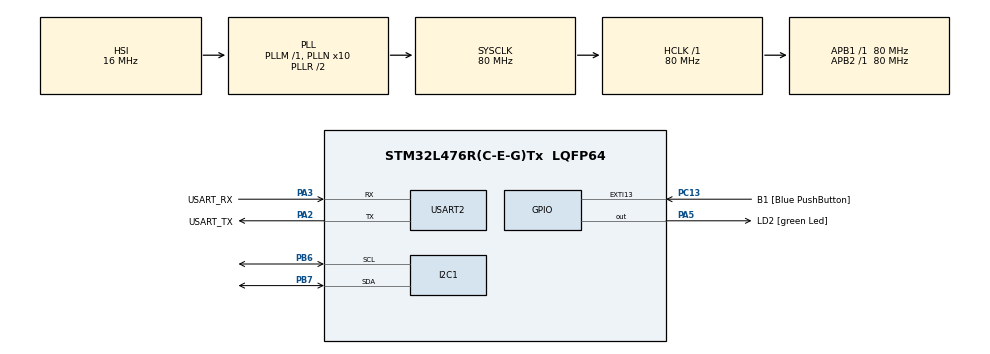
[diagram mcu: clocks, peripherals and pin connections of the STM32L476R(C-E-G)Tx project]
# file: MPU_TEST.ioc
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I2C1.Timing=0x10909CEC
Mcu.Family=STM32L4
Mcu.Name=STM32L476R(C-E-G)Tx
Mcu.Package=LQFP64
NVIC.PriorityGroup=NVIC_PRIORITYGROUP_4
PA13\ (JTMS-SWDIO).GPIO_Label=TMS
PA13\ (JTMS-SWDIO).Mode=Serial_Wire
PA13\ (JTMS-SWDIO).Signal=SYS_JTMS-SWDIO
PA14\ (JTCK-SWCLK).GPIO_Label=TCK
PA14\ (JTCK-SWCLK).Mode=Serial_Wire
PA14\ (JTCK-SWCLK).Signal=SYS_JTCK-SWCLK
PA2.GPIO_Label=USART_TX
PA2.GPIO_Mode=GPIO_MODE_AF_PP
PA2.GPIO_PuPd=GPIO_NOPULL
PA2.GPIO_Speed=GPIO_SPEED_FREQ_VERY_HIGH
PA2.Mode=Asynchronous
PA2.Signal=USART2_TX
PA3.GPIO_Label=USART_RX
PA3.GPIO_Mode=GPIO_MODE_AF_PP
PA3.GPIO_PuPd=GPIO_NOPULL
PA3.GPIO_Speed=GPIO_SPEED_FREQ_VERY_HIGH
PA3.Mode=Asynchronous
PA3.Signal=USART2_RX
PA5.GPIO_Label=LD2 [green Led]
PA5.GPIO_ModeDefaultOutputPP=GPIO_MODE_OUTPUT_PP
PA5.GPIO_PuPd=GPIO_NOPULL
PA5.GPIO_Speed=GPIO_SPEED_FREQ_LOW
PA5.Signal=GPIO_Output
PB3\ (JTDO-TRACESWO).GPIO_Label=SWO
PB3\ (JTDO-TRACESWO).Signal=SYS_JTDO-SWO
PB6.Mode=I2C
PB6.Signal=I2C1_SCL
PB7.Mode=I2C
PB7.Signal=I2C1_SDA
PC13.GPIO_Label=B1 [Blue PushButton]
PC13.GPIO_ModeDefaultEXTI=GPIO_MODE_IT_FALLING
PC13.GPIO_PuPd=GPIO_NOPULL
PC13.Signal=GPXTI13
PC14-OSC32_IN\ (PC14).Mode=LSE-External-Oscillator
PC14-OSC32_IN\ (PC14).Signal=RCC_OSC32_IN
PC15-OSC32_OUT\ (PC15).Mode=LSE-External-Oscillator
PC15-OSC32_OUT\ (PC15).Signal=RCC_OSC32_OUT
PH0-OSC_IN\ (PH0).Signal=RCC_OSC_IN
PH1-OSC_OUT\ (PH1).Signal=RCC_OSC_OUT
ProjectManager.HeapSize=0x200
ProjectManager.StackSize=0x400
ProjectManager.TargetToolchain=STM32CubeIDE
RCC.ADCFreq_Value=64000000
RCC.AHBFreq_Value=80000000
RCC.APB1Freq_Value=80000000
RCC.APB1TimFreq_Value=80000000
RCC.APB2Freq_Value=80000000
RCC.APB2TimFreq_Value=80000000
RCC.CortexFreq_Value=80000000
RCC.HCLKFreq_Value=80000000
RCC.HSE_VALUE=8000000
RCC.HSI_VALUE=16000000
RCC.MSI_VALUE=4000000
RCC.PLLN=10
RCC.PLLSourceVirtual=RCC_PLLSOURCE_HSI
RCC.PREFETCH_ENABLE=1
RCC.SYSCLKFreq_VALUE=80000000
RCC.SYSCLKSource=RCC_SYSCLKSOURCE_PLLCLK
RCC.USBFreq_Value=64000000
RCC.VCOOutputFreq_Value=160000000
USART2.VirtualMode-Asynchronous=VM_ASYNC
board=NUCLEO-L476RG

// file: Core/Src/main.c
/* USER CODE BEGIN Header */
/**
  ******************************************************************************
  * @file           : main.c
  * @brief          : Main program body
  ******************************************************************************
  * @attention
  *
  * Copyright (c) 2022 STMicroelectronics.
  * All rights reserved.
  *
  * This software is licensed under terms that can be found in the LICENSE file
  * in the root directory of this software component.
  * If no LICENSE file comes with this software, it is provided AS-IS.
  *
  ******************************************************************************
  */
/* USER CODE END Header */
#include "main.h"

/* USER CODE BEGIN Includes */
#include <math.h>
#include <stdint.h>
/* USER CODE END Includes */

/* USER CODE BEGIN PD */

// Constants
#define RAD2DEG 57.2957795131

// Defines
#define WHO_AM_I_6050_ANS 0x68
#define WHO_AM_I_9250_ANS 0x71
#define WHO_AM_I          0x75
#define AD0_LOW           0x68
#define AD0_HIGH          0x69
#define GYRO_CONFIG       0x1B
#define ACCEL_CONFIG      0x1C
#define PWR_MGMT_1        0x6B
#define ACCEL_XOUT_H      0x3B
#define I2C_TIMOUT_MS     1000

/* USER CODE END PD */

 I2C_HandleTypeDef hi2c1;

UART_HandleTypeDef huart2;

/* USER CODE BEGIN PV */

// Full scale ranges
enum gyroscopeFullScaleRange
{
    GFSR_250DPS,
    GFSR_500DPS,
    GFSR_1000DPS,
    GFSR_2000DPS
};

enum accelerometerFullScaleRange
{
    AFSR_2G,
    AFSR_4G,
    AFSR_8G,
    AFSR_16G
};

// Structures
struct RawData
{
    int16_t ax, ay, az, gx, gy, gz;
} rawData;

struct SensorData
{
    float ax, ay, az, gx, gy, gz;
} sensorData;

struct GyroCal
{
    float x, y, z;
} gyroCal;

struct Attitude
{
    float r, p, y;
} attitude;

// Variables
uint8_t _addr;
float _dt, _tau;
float aScaleFactor, gScaleFactor;

uint8_t TX_BUFF[100], len;

/* USER CODE END PV */

void SystemClock_Config(void);
static void MX_GPIO_Init(void);
static void MX_USART2_UART_Init(void);
static void MX_I2C1_Init(void);
/* USER CODE BEGIN PFP */

uint8_t MPU_begin(I2C_HandleTypeDef *I2Cx, uint8_t addr, uint8_t aScale, uint8_t gScale, float tau, float dt);
void MPU_calibrateGyro(I2C_HandleTypeDef *I2Cx, uint16_t numCalPoints);
void MPU_calcAttitude(I2C_HandleTypeDef *I2Cx);
void MPU_readRawData(I2C_HandleTypeDef *I2Cx);
void MPU_readProcessedData(I2C_HandleTypeDef *I2Cx);
void MPU_writeGyroFullScaleRange(I2C_HandleTypeDef *I2Cx, uint8_t gScale);
void MPU_writeAccFullScaleRange(I2C_HandleTypeDef *I2Cx, uint8_t aScale);

/* USER CODE END PFP */

int main(void)
{

  /* MCU Configuration--------------------------------------------------------*/

  /* Reset of all peripherals, Initializes the Flash interface and the Systick. */
  HAL_Init();

  /* Configure the system clock */
  SystemClock_Config();

  /* Initialize all configured peripherals */
  MX_GPIO_Init();
  MX_USART2_UART_Init();
  MX_I2C1_Init();
  /* USER CODE BEGIN 2 */

  MPU_begin(&hi2c1, AD0_LOW, AFSR_4G, GFSR_500DPS, 0.98, 0.004);
  MPU_calibrateGyro(&hi2c1, 1500);

  /* USER CODE END 2 */

  /* Infinite loop */
  while (1)
  {

	  //len = sprintf(TX_BUFF, "gx:%f,gy:%f,gz:%f\r\n",sensorData.gx,sensorData.gy,sensorData.gz);
	  len = sprintf(TX_BUFF, "gx:%d,gy:%d,gz:%d\r\n",rawData.gx,rawData.gy,rawData.gz);
	  HAL_UART_Transmit(&huart2, TX_BUFF, len, HAL_MAX_DELAY);

	  HAL_Delay(100);

  }
}

void SystemClock_Config(void)
{
  RCC_OscInitTypeDef RCC_OscInitStruct = {0};
  RCC_ClkInitTypeDef RCC_ClkInitStruct = {0};

  /** Configure the main internal regulator output voltage
  */
  if (HAL_PWREx_ControlVoltageScaling(PWR_REGULATOR_VOLTAGE_SCALE1) != HAL_OK)
  {
    Error_Handler();
  }

  /** Initializes the RCC Oscillators according to the specified parameters
  * in the RCC_OscInitTypeDef structure.
  */
  RCC_OscInitStruct.OscillatorType = RCC_OSCILLATORTYPE_HSI;
  RCC_OscInitStruct.HSIState = RCC_HSI_ON;
  RCC_OscInitStruct.HSICalibrationValue = RCC_HSICALIBRATION_DEFAULT;
  RCC_OscInitStruct.PLL.PLLState = RCC_PLL_ON;
  RCC_OscInitStruct.PLL.PLLSource = RCC_PLLSOURCE_HSI;
  RCC_OscInitStruct.PLL.PLLM = 1;
  RCC_OscInitStruct.PLL.PLLN = 10;
  RCC_OscInitStruct.PLL.PLLP = RCC_PLLP_DIV7;
  RCC_OscInitStruct.PLL.PLLQ = RCC_PLLQ_DIV2;
  RCC_OscInitStruct.PLL.PLLR = RCC_PLLR_DIV2;
  if (HAL_RCC_OscConfig(&RCC_OscInitStruct) != HAL_OK)
  {
    Error_Handler();
  }

  /** Initializes the CPU, AHB and APB buses clocks
  */
  RCC_ClkInitStruct.ClockType = RCC_CLOCKTYPE_HCLK|RCC_CLOCKTYPE_SYSCLK
                              |RCC_CLOCKTYPE_PCLK1|RCC_CLOCKTYPE_PCLK2;
  RCC_ClkInitStruct.SYSCLKSource = RCC_SYSCLKSOURCE_PLLCLK;
  RCC_ClkInitStruct.AHBCLKDivider = RCC_SYSCLK_DIV1;
  RCC_ClkInitStruct.APB1CLKDivider = RCC_HCLK_DIV1;
  RCC_ClkInitStruct.APB2CLKDivider = RCC_HCLK_DIV1;

  if (HAL_RCC_ClockConfig(&RCC_ClkInitStruct, FLASH_LATENCY_4) != HAL_OK)
  {
    Error_Handler();
  }
}

static void MX_I2C1_Init(void)
{

  hi2c1.Instance = I2C1;
  hi2c1.Init.Timing = 0x10909CEC;
  hi2c1.Init.OwnAddress1 = 0;
  hi2c1.Init.AddressingMode = I2C_ADDRESSINGMODE_7BIT;
  hi2c1.Init.DualAddressMode = I2C_DUALADDRESS_DISABLE;
  hi2c1.Init.OwnAddress2 = 0;
  hi2c1.Init.OwnAddress2Masks = I2C_OA2_NOMASK;
  hi2c1.Init.GeneralCallMode = I2C_GENERALCALL_DISABLE;
  hi2c1.Init.NoStretchMode = I2C_NOSTRETCH_DISABLE;
  if (HAL_I2C_Init(&hi2c1) != HAL_OK)
  {
    Error_Handler();
  }

  /** Configure Analogue filter
  */
  if (HAL_I2CEx_ConfigAnalogFilter(&hi2c1, I2C_ANALOGFILTER_ENABLE) != HAL_OK)
  {
    Error_Handler();
  }

  /** Configure Digital filter
  */
  if (HAL_I2CEx_ConfigDigitalFilter(&hi2c1, 0) != HAL_OK)
  {
    Error_Handler();
  }

}

static void MX_USART2_UART_Init(void)
{

  huart2.Instance = USART2;
  huart2.Init.BaudRate = 115200;
  huart2.Init.WordLength = UART_WORDLENGTH_8B;
  huart2.Init.StopBits = UART_STOPBITS_1;
  huart2.Init.Parity = UART_PARITY_NONE;
  huart2.Init.Mode = UART_MODE_TX_RX;
  huart2.Init.HwFlowCtl = UART_HWCONTROL_NONE;
  huart2.Init.OverSampling = UART_OVERSAMPLING_16;
  huart2.Init.OneBitSampling = UART_ONE_BIT_SAMPLE_DISABLE;
  huart2.AdvancedInit.AdvFeatureInit = UART_ADVFEATURE_NO_INIT;
  if (HAL_UART_Init(&huart2) != HAL_OK)
  {
    Error_Handler();
  }

}

static void MX_GPIO_Init(void)
{
  GPIO_InitTypeDef GPIO_InitStruct = {0};

  /* GPIO Ports Clock Enable */
  __HAL_RCC_GPIOC_CLK_ENABLE();
  __HAL_RCC_GPIOH_CLK_ENABLE();
  __HAL_RCC_GPIOA_CLK_ENABLE();
  __HAL_RCC_GPIOB_CLK_ENABLE();

  /*Configure GPIO pin Output Level */
  HAL_GPIO_WritePin(LD2_GPIO_Port, LD2_Pin, GPIO_PIN_RESET);

  /*Configure GPIO pin : B1_Pin */
  GPIO_InitStruct.Pin = B1_Pin;
  GPIO_InitStruct.Mode = GPIO_MODE_IT_FALLING;
  GPIO_InitStruct.Pull = GPIO_NOPULL;
  HAL_GPIO_Init(B1_GPIO_Port, &GPIO_InitStruct);

  /*Configure GPIO pin : LD2_Pin */
  GPIO_InitStruct.Pin = LD2_Pin;
  GPIO_InitStruct.Mode = GPIO_MODE_OUTPUT_PP;
  GPIO_InitStruct.Pull = GPIO_NOPULL;
  GPIO_InitStruct.Speed = GPIO_SPEED_FREQ_LOW;
  HAL_GPIO_Init(LD2_GPIO_Port, &GPIO_InitStruct);

}

/* USER CODE BEGIN 4 */

/// @brief Set the IMU address, check for connection, reset IMU, and set full range scale.
/// @param I2Cx Pointer to I2C structure config.
/// @param addr Hex address based on AD0 pin - 0x68 low or 0x69 high.
/// @param aScale Set accelerometer full scale range: 0 for ±2g, 1 for ±4g, 2 for ±8g, and 3 for ±16g.
/// @param gScale Set gyroscope full scale range: 0 for ±250°/s, 1 for ±500°/s, 2 for ±1000°/s, and 3 for ±2000°/s.
/// @param tau Set tau value for the complementary filter (typically 0.98).
/// @param dt Set sampling rate in seconds determined by the timer interrupt.
uint8_t MPU_begin(I2C_HandleTypeDef *I2Cx, uint8_t addr, uint8_t aScale, uint8_t gScale, float tau, float dt)
{
    // Save values
    _addr = addr << 1;
    _tau = tau;
    _dt = dt;

    // Initialize variables
    uint8_t check;
    uint8_t select;

    // Confirm device
    HAL_I2C_Mem_Read(I2Cx, _addr, WHO_AM_I, 1, &check, 1, I2C_TIMOUT_MS);

    select = 0x00;
	HAL_I2C_Mem_Write(I2Cx, _addr, PWR_MGMT_1, 1, &select, 1, I2C_TIMOUT_MS);

	// Set the full scale ranges
	MPU_writeAccFullScaleRange(I2Cx, aScale);
	MPU_writeGyroFullScaleRange(I2Cx, gScale);

	return 1;

	/*
    // TODO: If 9250 or 6050 fails could it trigger the opposite check???
    if ((check == WHO_AM_I_9250_ANS) || (check == WHO_AM_I_6050_ANS))
    {
        // Startup / reset the sensor
        select = 0x00;
        HAL_I2C_Mem_Write(I2Cx, _addr, PWR_MGMT_1, 1, &select, 1, I2C_TIMOUT_MS);

        // Set the full scale ranges
        MPU_writeAccFullScaleRange(I2Cx, aScale);
        MPU_writeGyroFullScaleRange(I2Cx, gScale);

        return 1;
    }
    else
    {
        return 0;
    }
    */
}

/// @brief Set the accelerometer full scale range.
/// @param I2Cx Pointer to I2C structure config.
/// @param aScale Set 0 for ±2g, 1 for ±4g, 2 for ±8g, and 3 for ±16g.
void MPU_writeAccFullScaleRange(I2C_HandleTypeDef *I2Cx, uint8_t aScale)
{
    // Variable init
    uint8_t select;

    // Set the value
    switch (aScale)
    {
    case AFSR_2G:
        aScaleFactor = 16384.0;
        select = 0x00;
        HAL_I2C_Mem_Write(I2Cx, _addr, ACCEL_CONFIG, 1, &select, 1, I2C_TIMOUT_MS);
        break;
    case AFSR_4G:
        aScaleFactor = 8192.0;
        select = 0x08;
        HAL_I2C_Mem_Write(I2Cx, _addr, ACCEL_CONFIG, 1, &select, 1, I2C_TIMOUT_MS);
        break;
    case AFSR_8G:
        aScaleFactor = 4096.0;
        select = 0x10;
        HAL_I2C_Mem_Write(I2Cx, _addr, ACCEL_CONFIG, 1, &select, 1, I2C_TIMOUT_MS);
        break;
    case AFSR_16G:
        aScaleFactor = 2048.0;
        select = 0x18;
        HAL_I2C_Mem_Write(I2Cx, _addr, ACCEL_CONFIG, 1, &select, 1, I2C_TIMOUT_MS);
        break;
    default:
        aScaleFactor = 8192.0;
        select = 0x08;
        HAL_I2C_Mem_Write(I2Cx, _addr, ACCEL_CONFIG, 1, &select, 1, I2C_TIMOUT_MS);
        break;
    }
}

/// @brief Set the gyroscope full scale range.
/// @param I2Cx Pointer to I2C structure config.
/// @param gScale Set 0 for ±250°/s, 1 for ±500°/s, 2 for ±1000°/s, and 3 for ±2000°/s.
void MPU_writeGyroFullScaleRange(I2C_HandleTypeDef *I2Cx, uint8_t gScale)
{
    // Variable init
    uint8_t select;

    // Set the value
    switch (gScale)
    {
    case GFSR_250DPS:
        gScaleFactor = 131.0;
        select = 0x00;
        HAL_I2C_Mem_Write(I2Cx, _addr, GYRO_CONFIG, 1, &select, 1, I2C_TIMOUT_MS);
        break;
    case GFSR_500DPS:
        gScaleFactor = 65.5;
        select = 0x08;
        HAL_I2C_Mem_Write(I2Cx, _addr, GYRO_CONFIG, 1, &select, 1, I2C_TIMOUT_MS);
        break;
    case GFSR_1000DPS:
        gScaleFactor = 32.8;
        select = 0x10;
        HAL_I2C_Mem_Write(I2Cx, _addr, GYRO_CONFIG, 1, &select, 1, I2C_TIMOUT_MS);
        break;
    case GFSR_2000DPS:
        gScaleFactor = 16.4;
        select = 0x18;
        HAL_I2C_Mem_Write(I2Cx, _addr, GYRO_CONFIG, 1, &select, 1, I2C_TIMOUT_MS);
        break;
    default:
        gScaleFactor = 65.5;
        select = 0x08;
        HAL_I2C_Mem_Write(I2Cx, _addr, GYRO_CONFIG, 1, &select, 1, I2C_TIMOUT_MS);
        break;
    }
}

/// @brief Read raw data from IMU.
/// @param I2Cx Pointer to I2C structure config.
void MPU_readRawData(I2C_HandleTypeDef *I2Cx)
{
    // Init buffer
    uint8_t buf[14] = {0,0,0,0,0,0,0,0,0,0,0,0,0,0};

    // Subroutine for reading the raw data
    HAL_I2C_Mem_Read(I2Cx, _addr, ACCEL_XOUT_H, 1, buf, 14, I2C_TIMOUT_MS);

    // Bit shift the data
    rawData.ax = buf[0] << 8 | buf[1];
    rawData.ay = buf[2] << 8 | buf[3];
    rawData.az = buf[4] << 8 | buf[5];
    // temperature = buf[6] << 8 | buf[7];
    rawData.gx = buf[8] << 8 | buf[9];
    rawData.gy = buf[10] << 8 | buf[11];
    rawData.gz = buf[12] << 8 | buf[13];
}

/// @brief Find offsets for each axis of gyroscope.
/// @param I2Cx Pointer to I2C structure config.
/// @param numCalPoints Number of data points to average.
void MPU_calibrateGyro(I2C_HandleTypeDef *I2Cx, uint16_t numCalPoints)
{
    // Init
    int32_t x = 0;
    int32_t y = 0;
    int32_t z = 0;

    // Zero guard
    if (numCalPoints == 0)
    {
        numCalPoints = 1;
    }

    // Save specified number of points
    for (uint16_t ii = 0; ii < numCalPoints; ii++)
    {
        MPU_readRawData(I2Cx);
        x += rawData.gx;
        y += rawData.gy;
        z += rawData.gz;
        HAL_Delay(3);
    }

    // Average the saved data points to find the gyroscope offset
    gyroCal.x = (float)x / (float)numCalPoints;
    gyroCal.y = (float)y / (float)numCalPoints;
    gyroCal.z = (float)z / (float)numCalPoints;
}

/// @brief Calculate the real world sensor values.
/// @param I2Cx Pointer to I2C structure config.
void MPU_readProcessedData(I2C_HandleTypeDef *I2Cx)
{
    // Get raw values from the IMU
    MPU_readRawData(I2Cx);

    // Convert accelerometer values to g's
    sensorData.ax = rawData.ax / aScaleFactor;
    sensorData.ay = rawData.ay / aScaleFactor;
    sensorData.az = rawData.az / aScaleFactor;

    // Compensate for gyro offset
    sensorData.gx = rawData.gx - gyroCal.x;
    sensorData.gy = rawData.gy - gyroCal.y;
    sensorData.gz = rawData.gz - gyroCal.z;

    // Convert gyro values to deg/s
    sensorData.gx /= gScaleFactor;
    sensorData.gy /= gScaleFactor;
    sensorData.gz /= gScaleFactor;
}

/// @brief Calculate the attitude of the sensor in degrees using a complementary filter.
/// @param I2Cx Pointer to I2C structure config.
void MPU_calcAttitude(I2C_HandleTypeDef *I2Cx)
{
    // Read processed data
    MPU_readProcessedData(I2Cx);

    // Complementary filter
    float accelPitch = atan2(sensorData.ay, sensorData.az) * RAD2DEG;
    float accelRoll = atan2(sensorData.ax, sensorData.az) * RAD2DEG;

    attitude.r = _tau * (attitude.r - sensorData.gy * _dt) + (1 - _tau) * accelRoll;
    attitude.p = _tau * (attitude.p + sensorData.gx * _dt) + (1 - _tau) * accelPitch;
    attitude.y += sensorData.gz * _dt;
}

/* USER CODE END 4 */

void Error_Handler(void)
{
  __disable_irq();
  while (1)
  {
  }
}
